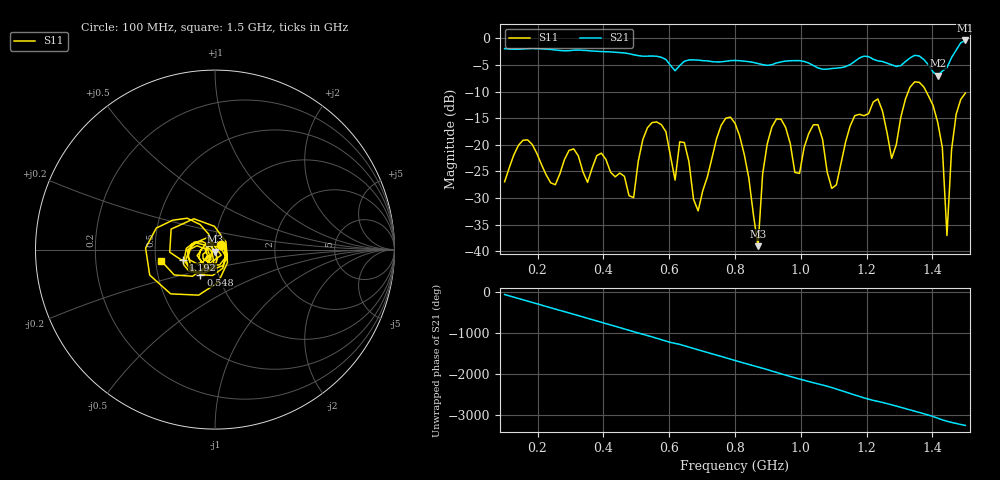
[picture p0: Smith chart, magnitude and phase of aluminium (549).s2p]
! NanoVNA-App
! Date: 2025-09-25 14:59:33
! Start: 100MHz Stop: 1,5GHz Points: 101
! S-Parameter data: F S11 S21 S12 S22
# Hz S RI R 50
!  Frequency  S11_Real  S11_Imag  S21_Real  S21_Imag  S12_Real  S12_Imag  S22_Real  S22_Imag
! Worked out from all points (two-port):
!   101 points, 100 MHz to 1.5 GHz, reference 50 ohm
!   highest |S21| = -0.38 dB at 1.5 GHz (marker M1); lowest = -7.0 dB at 1.416 GHz (marker M2)
!   |S21| within 3 dB of the highest: start of sweep to 564.5 MHz; 1.46 GHz to end of sweep (the widest 2 of 4)
!   lowest |S11| = -39.1 dB at 870 MHz (marker M3), VSWR 1.02, Z = 50.1 - j1.11 ohm
!   |S11| at or under -10 dB: start of sweep to 1.327 GHz; 1.381 GHz to end of sweep
!   S12 and S22 are empty: the file has one direction only
!   S11 on the Smith chart (normalised r, x): 100 MHz: 1.07, +0.06; 548 MHz: 0.82, -0.23; 1.192 GHz: 0.69, -0.08; 1.5 GHz: 0.53, -0.07
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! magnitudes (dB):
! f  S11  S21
! 100 MHz  -27.0  -1.9
! 156 MHz  -19.1  -2.0
! 338 MHz  -25.1  -2.2
! 492 MHz  -29.9  -3.1
! 548 MHz  -15.8  -3.3
! 576 MHz  -16.2  -3.5
! 646 MHz  -19.6  -4.3
! 688 MHz  -32.4  -4.1
! 800 MHz  -15.9  -4.1
! 870 MHz  -39.1  -4.7
! 912 MHz  -16.7  -4.9
! 996 MHz  -25.4  -4.2
! 1.038 GHz  -16.2  -5.1
! 1.094 GHz  -28.2  -5.7
! 1.192 GHz  -14.5  -3.3
! 1.234 GHz  -11.4  -4.2
! 1.276 GHz  -22.6  -5.0
! 1.346 GHz  -8.2  -3.2
! 1.416 GHz  -15.8  -7.0
! 1.444 GHz  -37.0  -5.5
! 1.458 GHz  -20.9  -3.6
! 1.5 GHz  -10.3  -0.4
